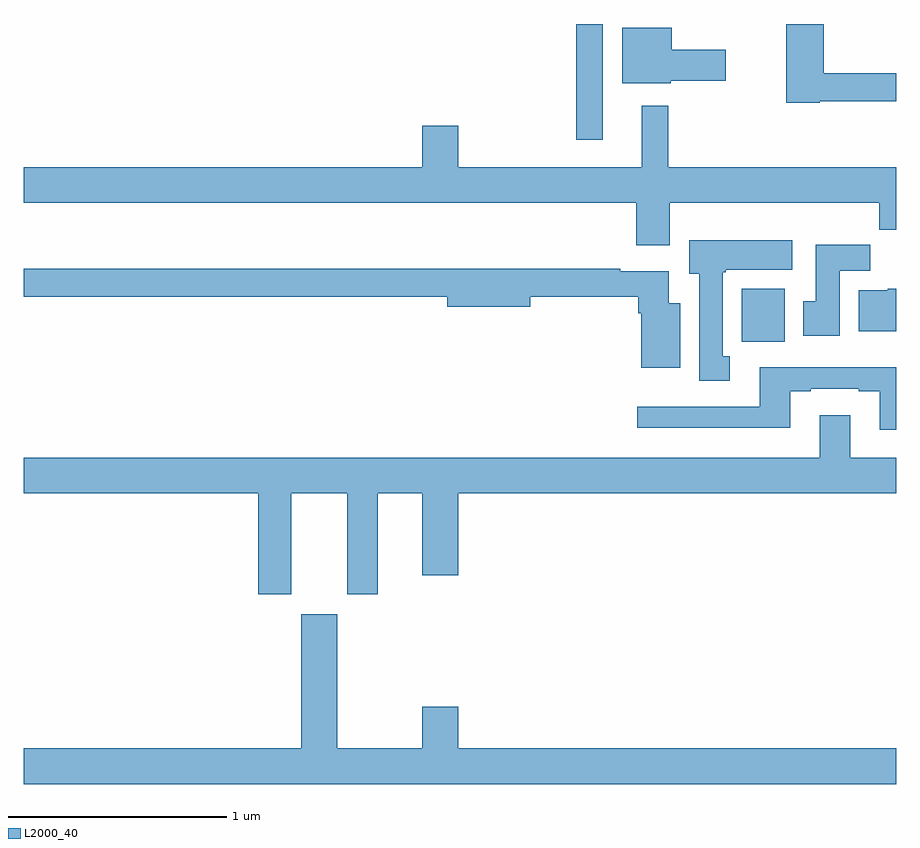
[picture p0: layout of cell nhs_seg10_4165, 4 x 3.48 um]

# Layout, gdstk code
import gdstk
lib = gdstk.Library(unit=1e-6, precision=1e-09)
def R(c, l, rs):  # rectangles x0, y0, x1, y1
    for r in rs: c.add(gdstk.rectangle(r[:2], r[2:], *l))
def P(c, l, *ps):  # polygons
    for p in ps: c.add(gdstk.Polygon(p, *l))
L2000_40 = (2000, 40)

nhs_seg10_4165 = lib.new_cell('nhs_seg10_4165')
R(nhs_seg10_4165, L2000_40, [(346.292,1269.044,346.489,1269.286), (345.534,1269.969,345.655,1270.5)])
P(nhs_seg10_4165, L2000_40, [(346.65,1270.146),(347,1270.146),(347,1270.274),(346.667,1270.274),(346.667,1270.498),(346.496,1270.498),(346.496,1270.138),(346.65,1270.138)],
  [(345.966,1270.24),(346.219,1270.24),(346.219,1270.382),(345.97,1270.382),(345.97,1270.483),(345.743,1270.483),(345.743,1270.229),(345.966,1270.229)],
  [(345.961,1269.68),(346.921,1269.68),(346.921,1269.556),(347,1269.556),(347,1269.844),(345.955,1269.844),(345.955,1270.126),(345.833,1270.126),(345.833,1269.844),(344.992,1269.844),(344.992,1270.033),(344.828,1270.033),(344.828,1269.844),(343,1269.844),(343,1269.68),(345.809,1269.68),(345.809,1269.486),(345.961,1269.486)],
  [(346.237,1268.978),(346.204,1268.978),(346.204,1269.361),(346.218,1269.361),(346.218,1269.374),(346.522,1269.374),(346.522,1269.508),(346.052,1269.508),(346.052,1269.354),(346.097,1269.354),(346.097,1268.865),(346.237,1268.865)],
  [(346.741,1269.368),(346.88,1269.368),(346.88,1269.487),(346.631,1269.487),(346.631,1269.228),(346.574,1269.228),(346.574,1269.072),(346.741,1269.072)],
  [(346.009,1269.22),(345.958,1269.22),(345.958,1269.366),(345.734,1269.366),(345.734,1269.379),(343,1269.379),(343,1269.25),(344.942,1269.25),(344.942,1269.203),(345.322,1269.203),(345.322,1269.25),(345.818,1269.25),(345.818,1269.173),(345.83,1269.173),(345.83,1268.924),(346.009,1268.924)],
  [(347,1269.286),(346.962,1269.286),(346.962,1269.28),(346.829,1269.28),(346.829,1269.092),(347,1269.092)],
  [(347,1268.926),(346.373,1268.926),(346.373,1268.745),(345.813,1268.745),(345.813,1268.648),(346.513,1268.648),(346.513,1268.817),(346.609,1268.817),(346.609,1268.829),(346.829,1268.829),(346.829,1268.817),(346.925,1268.817),(346.925,1268.64),(347,1268.64)],
  [(344.227,1268.348),(344.483,1268.348),(344.483,1267.887),(344.623,1267.887),(344.623,1268.348),(344.828,1268.348),(344.828,1267.974),(344.992,1267.974),(344.992,1268.348),(347,1268.348),(347,1268.512),(346.789,1268.512),(346.789,1268.707),(346.649,1268.707),(346.649,1268.512),(343,1268.512),(343,1268.348),(344.075,1268.348),(344.075,1267.887),(344.227,1267.887)],
  [(344.273,1267.795),(344.273,1267.18),(343,1267.18),(343,1267.016),(347,1267.016),(347,1267.18),(344.992,1267.18),(344.992,1267.369),(344.828,1267.369),(344.828,1267.18),(344.437,1267.18),(344.437,1267.795)])

lib.write_gds('nhs_seg10_4165.gds')
